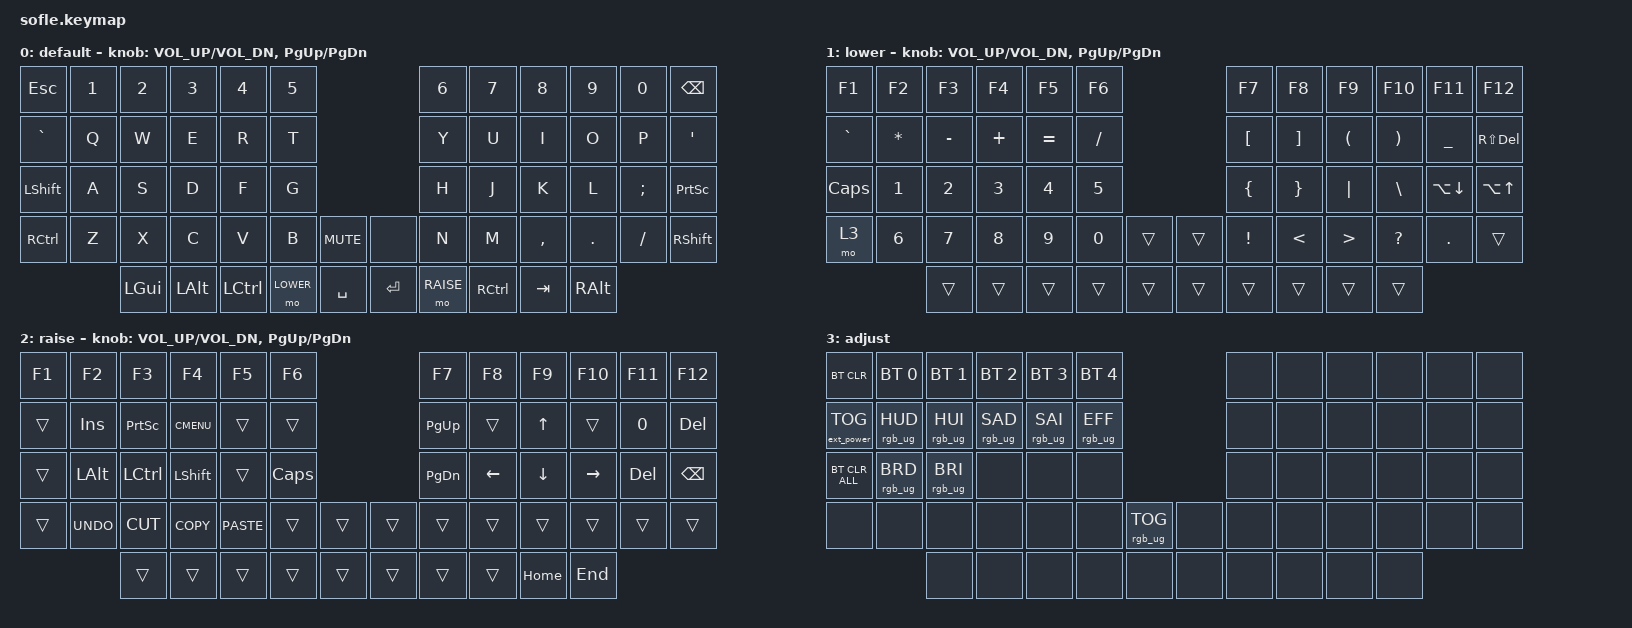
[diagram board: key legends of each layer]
/*
 * Copyright (c) 2020 The ZMK Contributors
 *
 * SPDX-License-Identifier: MIT
 */

#include <behaviors.dtsi>
#include <dt-bindings/zmk/bt.h>
#include <dt-bindings/zmk/ext_power.h>
#include <dt-bindings/zmk/keys.h>
#include <dt-bindings/zmk/rgb.h>

#define BASE 0
#define LOWER 1
#define RAISE 2
#define ADJUST 3

/ {
    // Activate ADJUST layer by pressing raise and lower

    conditional_layers {
        compatible = "zmk,conditional-layers";

        adjust_layer {
            if-layers = <LOWER RAISE>;
            then-layer = <ADJUST>;
        };
    };

    keymap {
        compatible = "zmk,keymap";

        default_layer {
            display-name = "default";

            // ------------------------------------------------------------------------------------------------------------
            // |   `   |  1  |  2  |  3   |  4   |  5   |                   |  6   |  7    |  8    |  9   |   0   |       |
            // |  ESC  |  Q  |  W  |  E   |  R   |  T   |                   |  Y   |  U    |  I    |  O   |   P   | BKSPC |
            // |  TAB  |  A  |  S  |  D   |  F   |  G   |                   |  H   |  J    |  K    |  L   |   ;   |   '   |
            // | SHIFT |  Z  |  X  |  C   |  V   |  B   |  MUTE  |  |       |  N   |  M    |  ,    |  .   |   /   | SHIFT |
            //               | GUI | ALT  | CTRL | LOWER|  ENTER |  | SPACE | RAISE| CTRL  | ALT   | GUI  |

            bindings = <
&kp ESC         &kp N1  &kp N2    &kp N3    &kp N4            &kp N5                              &kp N6     &kp N7     &kp N8     &kp N9         &kp N0    &kp BACKSPACE
&kp GRAVE       &kp Q   &kp W     &kp E     &kp R             &kp T                               &kp Y      &kp U      &kp I      &kp O          &kp P     &kp SQT
&kp LEFT_SHIFT  &kp A   &kp S     &kp D     &kp F             &kp G                               &kp H      &kp J      &kp K      &kp L          &kp SEMI  &kp PRINTSCREEN
&kp RCTRL       &kp Z   &kp X     &kp C     &kp V             &kp B      &kp C_MUTE    &none      &kp N      &kp M      &kp COMMA  &kp DOT        &kp FSLH  &kp RSHFT
                        &kp LGUI  &kp LALT  &kp LEFT_CONTROL  &mo LOWER  &kp SPACE     &kp ENTER  &mo RAISE  &kp RCTRL  &kp TAB    &kp RIGHT_ALT
            >;

            sensor-bindings = <&inc_dec_kp C_VOL_UP C_VOL_DN &inc_dec_kp PG_UP PG_DN>;
        };

        lower_layer {
            display-name = "lower";

            // TODO: Some binds are waiting for shifted keycode support.
            // ------------------------------------------------------------------------------------------------------------
            // |       |  F1 |  F2 |  F3  |  F4  |  F5  |                   |  F6  |  F7   |  F8   |  F9  |  F10  |  F11  |
            // |   `   |  1  |  2  |  3   |  4   |  5   |                   |  6   |  7    |  8    |  9   |   0   |  F12  |
            // |       |  !  |  @  |  #   |  $   |  %   |                   |  ^   |  &    |  *    |  (   |   )   |   |   |
            // |       |  =  |  -  |  +   |  {   |  }   |        |  |       |  [   |  ]    |  ;    |  :   |   \   |       |
            //               |     |      |      |      |        |  |       |      |       |       |      |

            bindings = <
&kp F1     &kp F2        &kp F3        &kp F4        &kp F5        &kp F6                       &kp F7            &kp F8             &kp F9                &kp F10                &kp F11             &kp F12
&kp GRAVE  &kp ASTERISK  &kp MINUS     &kp PLUS      &kp EQUAL     &kp SLASH                    &kp LEFT_BRACKET  &kp RIGHT_BRACKET  &kp LEFT_PARENTHESIS  &kp RIGHT_PARENTHESIS  &kp UNDER           &kp RS(DELETE)
&kp CAPS   &kp NUMBER_1  &kp NUMBER_2  &kp NUMBER_3  &kp NUMBER_4  &kp N5                       &kp LEFT_BRACE    &kp RIGHT_BRACE    &kp PIPE              &kp BACKSLASH          &kp LA(DOWN_ARROW)  &kp LA(UP_ARROW)
&mo 3      &kp NUMBER_6  &kp N7        &kp N8        &kp N9        &kp N0     &trans    &trans  &kp EXCLAMATION   &kp LESS_THAN      &kp GREATER_THAN      &kp QUESTION           &kp PERIOD          &trans
                         &trans        &trans        &trans        &trans     &trans    &trans  &trans            &trans             &trans                &trans
            >;

            sensor-bindings = <&inc_dec_kp C_VOL_UP C_VOL_DN &inc_dec_kp PG_UP PG_DN>;
        };

        raise_layer {
            display-name = "raise";

            // ------------------------------------------------------------------------------------------------------------
            // | BTCLR | BT1  | BT2  |  BT3  |  BT4  |  BT5 |                |      |      |       |      |       |       |
            // |       | INS  | PSCR | GUI   |       |      |                | PGUP |      |   ^   |      |       |       |
            // |       | ALT  | CTRL | SHIFT |       | CAPS |                | PGDN |   <- |   v   |  ->  |  DEL  | BKSPC |
            // |       | UNDO | CUT  | COPY  | PASTE |      |      |  |      |      |      |       |      |       |       |
            //                |      |       |       |      |      |  |      |      |      |       |      |

            bindings = <
&kp F1  &kp F2      &kp F3     &kp F4       &kp F5       &kp F6                      &kp F7     &kp F8    &kp F9    &kp F10    &kp F11  &kp F12
&trans  &kp INS     &kp PSCRN  &kp K_CMENU  &trans       &trans                      &kp PG_UP  &trans    &kp UP    &trans     &kp N0   &kp DELETE
&trans  &kp LALT    &kp LCTRL  &kp LSHFT    &trans       &kp CLCK                    &kp PG_DN  &kp LEFT  &kp DOWN  &kp RIGHT  &kp DEL  &kp BSPC
&trans  &kp K_UNDO  &kp K_CUT  &kp K_COPY   &kp K_PASTE  &trans    &trans    &trans  &trans     &trans    &trans    &trans     &trans   &trans
                    &trans     &trans       &trans       &trans    &trans    &trans  &trans     &trans    &kp HOME  &kp END
            >;

            sensor-bindings = <&inc_dec_kp C_VOL_UP C_VOL_DN &inc_dec_kp PG_UP PG_DN>;
        };

        adjust_layer {
            // ----------------------------------------------------------------------------------------------------------------------------
            // | BTCLR  |  BT1    |  BT2    |   BT3   |   BT4   |   BT5   |                  |      |      |       |      |       |       |
            // | EXTPWR | RGB_HUD | RGB_HUI | RGB_SAD | RGB_SAI | RGB_EFF |                  |      |      |       |      |       |       |
            // |        | RGB_BRD | RGB_BRI |         |         |         |                  |      |      |       |      |       |       |
            // |        |         |         |         |         |         | RGB_TOG | |      |      |      |       |      |       |       |
            //                    |         |         |         |         |         | |      |      |      |       |      |

            display-name = "adjust";
            bindings = <
&bt BT_CLR         &bt BT_SEL 0     &bt BT_SEL 1     &bt BT_SEL 2     &bt BT_SEL 3     &bt BT_SEL 4                               &none  &none  &none  &none  &none  &none
&ext_power EP_TOG  &rgb_ug RGB_HUD  &rgb_ug RGB_HUI  &rgb_ug RGB_SAD  &rgb_ug RGB_SAI  &rgb_ug RGB_EFF                            &none  &none  &none  &none  &none  &none
&bt BT_CLR_ALL     &rgb_ug RGB_BRD  &rgb_ug RGB_BRI  &none            &none            &none                                      &none  &none  &none  &none  &none  &none
&none              &none            &none            &none            &none            &none            &rgb_ug RGB_TOG    &none  &none  &none  &none  &none  &none  &none
                                    &none            &none            &none            &none            &none              &none  &none  &none  &none  &none
            >;
        };
    };
};
